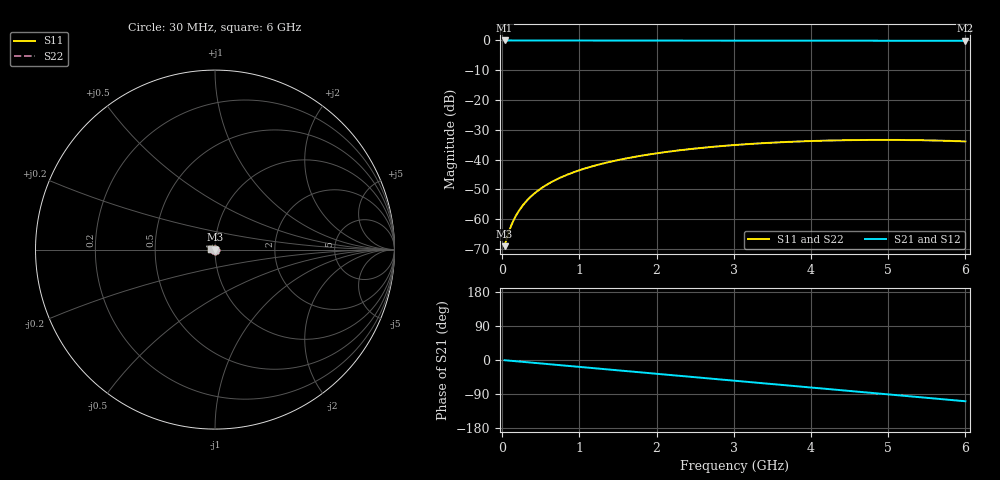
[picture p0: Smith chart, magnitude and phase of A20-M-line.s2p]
! yapnr Order 0 O0-D: O0-D A20 M dL9 (line, family M)
! stackup OSHPARK-4L-EM528, nominal parameters; geometry of the OSHPARK-4L-FR408HR design
! model: 2D quasi-static RLGC (Djordjevic-Sarkar, Huray roughness, Wheeler loss); generated by python -m yapnr.rf.coupons expected --stackup OSHPARK-4L-FR408HR --upload D
! reference planes 10 mm from each end; 50 ohm (from the M line's Zc)
# GHz S DB R 50
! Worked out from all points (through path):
!   200 points, 30 MHz to 6 GHz, reference 50 ohm
!   highest |S21| = 0.00 dB at 30 MHz (marker M1); lowest = -0.1 dB at 6 GHz (marker M2)
!   group delay of S21, straight-line fit = 50.4 ps
!   lowest |S11| = -69.0 dB at 30 MHz (marker M3), VSWR 1.00, Z = 50 + j0.00389 ohm
!   |S11| at or under -10 dB: start of sweep to end of sweep
!   |S22| runs from -69.0 to -33.4 dB; largest |S21 - S12| = 0
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0.03  -69.02 6.3  -0.00 -0.6  -0.00 -0.6  -69.02 6.3
0.06  -66.10 -12.8  -0.00 -1.1  -0.00 -1.1  -66.10 -12.8
0.09  -63.80 -26.4  -0.01 -1.7  -0.01 -1.7  -63.80 -26.4
0.15  -60.14 -43.5  -0.01 -2.8  -0.01 -2.8  -60.14 -43.5
0.18  -58.67 -49.2  -0.01 -3.3  -0.01 -3.3  -58.67 -49.2
0.24  -56.22 -57.5  -0.01 -4.4  -0.01 -4.4  -56.22 -57.5
0.3  -54.26 -63.4  -0.01 -5.5  -0.01 -5.5  -54.26 -63.4
0.36  -52.63 -67.9  -0.01 -6.6  -0.01 -6.6  -52.63 -67.9
0.51  -49.49 -76.1  -0.02 -9.3  -0.02 -9.3  -49.49 -76.1
0.66  -47.19 -82.0  -0.02 -12.1  -0.02 -12.1  -47.19 -82.0
0.84  -45.06 -87.9  -0.03 -15.3  -0.03 -15.3  -45.06 -87.9
1.05  -43.12 -93.7  -0.03 -19.1  -0.03 -19.1  -43.12 -93.7
1.5  -40.12 -104.5  -0.04 -27.3  -0.04 -27.3  -40.12 -104.5
2.04  -37.71 -116.1  -0.05 -37.1  -0.05 -37.1  -37.71 -116.1
2.52  -36.20 -125.8  -0.06 -45.8  -0.06 -45.8  -36.20 -125.8
3.03  -35.05 -135.8  -0.07 -55.0  -0.07 -55.0  -35.05 -135.8
3.54  -34.23 -145.7  -0.08 -64.3  -0.08 -64.3  -34.23 -145.7
4.02  -33.73 -154.8  -0.08 -73.0  -0.08 -73.0  -33.73 -154.8
4.5  -33.44 -163.9  -0.09 -81.7  -0.09 -81.7  -33.44 -163.9
5.01  -33.37 -173.4  -0.10 -90.9  -0.10 -90.9  -33.37 -173.4
5.52  -33.52 177.2  -0.11 -100.2  -0.11 -100.2  -33.52 177.2
6  -33.88 168.3  -0.12 -108.9  -0.12 -108.9  -33.88 168.3
